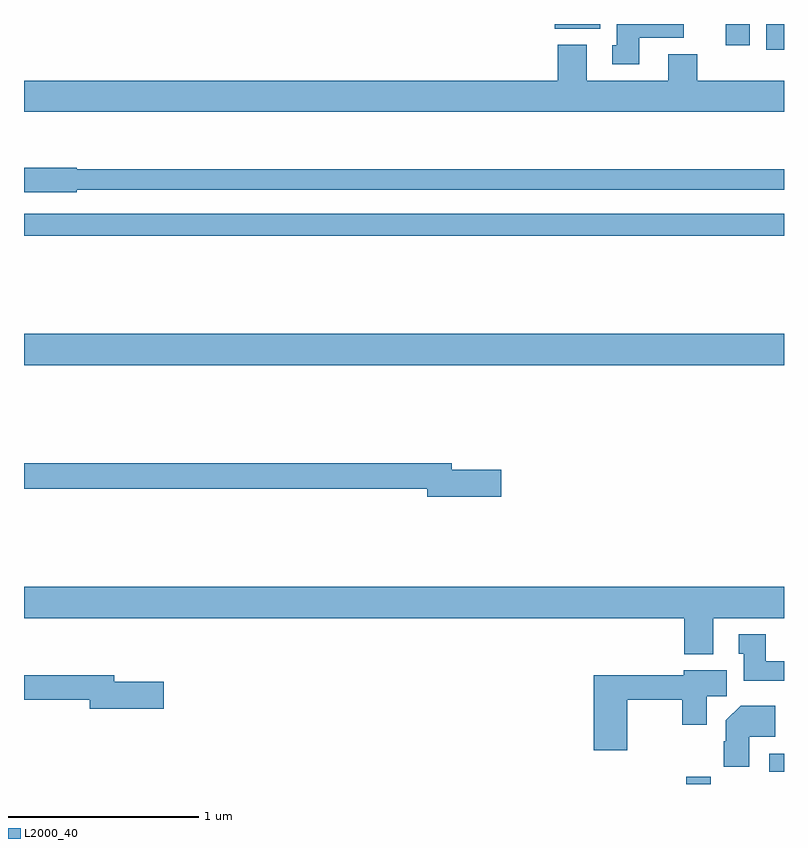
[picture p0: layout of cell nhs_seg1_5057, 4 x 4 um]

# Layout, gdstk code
import gdstk
lib = gdstk.Library(unit=1e-6, precision=1e-09)
def R(c, l, rs):  # rectangles x0, y0, x1, y1
    for r in rs: c.add(gdstk.rectangle(r[:2], r[2:], *l))
def P(c, l, *ps):  # polygons
    for p in ps: c.add(gdstk.Polygon(p, *l))
L2000_40 = (2000, 40)

nhs_seg1_5057 = lib.new_cell('nhs_seg1_5057')
R(nhs_seg1_5057, L2000_40, [(388.486,544.199,388.615,544.237), (388.923,544.263,389,544.359), (385,546.404,389,546.568), (385,547.084,389,547.2), (388.907,548.064,389,548.199), (388.694,548.088,388.819,548.199), (387.794,548.174,388.033,548.199)])
P(nhs_seg1_5057, L2000_40, [(388.237,548.126),(388.473,548.126),(388.473,548.199),(388.121,548.199),(388.121,548.088),(388.097,548.088),(388.097,547.986),(388.237,547.986)],
  [(389,547.9),(388.544,547.9),(388.544,548.041),(388.391,548.041),(388.391,547.9),(387.961,547.9),(387.961,548.089),(387.809,548.089),(387.809,547.9),(385,547.9),(385,547.736),(389,547.736)],
  [(385.278,547.326),(389,547.326),(389,547.435),(385.278,547.435),(385.278,547.443),(385,547.443),(385,547.313),(385.278,547.313)],
  [(387.511,545.852),(387.25,545.852),(387.25,545.888),(385,545.888),(385,545.752),(387.122,545.752),(387.122,545.71),(387.511,545.71)],
  [(388.627,545.072),(389,545.072),(389,545.236),(385,545.236),(385,545.072),(388.475,545.072),(388.475,544.883),(388.627,544.883)],
  [(389,544.846),(388.903,544.846),(388.903,544.987),(388.763,544.987),(388.763,544.884),(388.787,544.884),(388.787,544.742),(389,544.742)],
  [(388.176,544.642),(388.465,544.642),(388.465,544.512),(388.594,544.512),(388.594,544.66),(388.699,544.66),(388.699,544.798),(388.472,544.798),(388.472,544.771),(387.998,544.771),(387.998,544.377),(388.176,544.377)],
  [(385.735,544.737),(385.474,544.737),(385.474,544.771),(385,544.771),(385,544.642),(385.346,544.642),(385.346,544.595),(385.735,544.595)],
  [(388.816,544.448),(388.955,544.448),(388.955,544.612),(388.772,544.612),(388.694,544.534),(388.694,544.424),(388.682,544.424),(388.682,544.29),(388.816,544.29)])

lib.write_gds('nhs_seg1_5057.gds')
